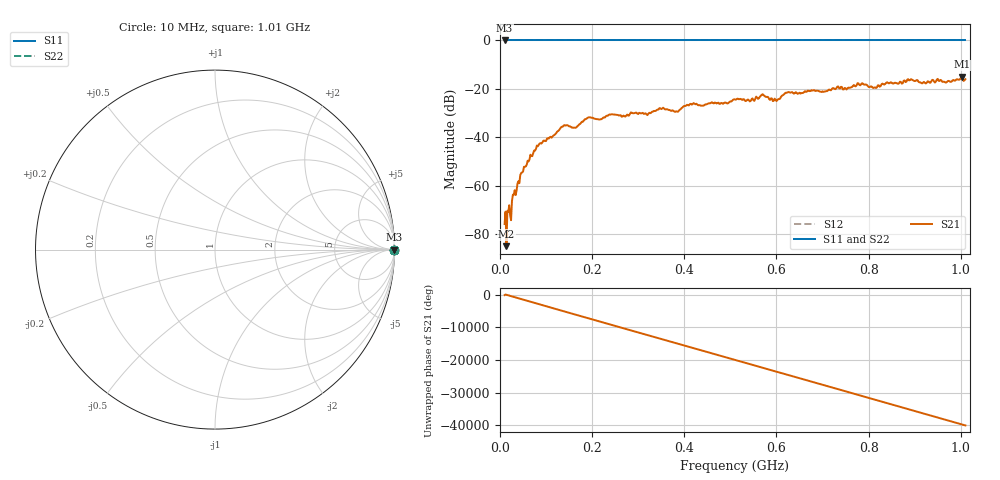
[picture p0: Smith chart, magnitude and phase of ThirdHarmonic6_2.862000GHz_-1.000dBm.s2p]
! 8/17/2025 7:47:51 AM
! C:\ANRITSUVNA\TEMP\TEMP.S2P
! CHANNEL.1
! TR.MEASUREMENT
! RAW.DATA
! RF.CORRECTION.OFF
! AVERAGING.OFF
! IF.BANDWIDTH: 5KHZ
! SWEEPTYPE:  FREQ.SWEEP(Linear)
! Reference Plane Port Info
! PORT:  PORT1  PORT2
! DISTANCE:  0  m  0  m
! TIME:  0  s  0  s
! PHASE.OFFSET:  0  deg.  0  deg.
! LOSS:  0  dB  0  dB
! REF.LOSS:  0  dB  0  dB
! REF.FREQ:  0  Hz  0  Hz
! Power Info
! POWER:  -20  dBm  -20  dBm
! EFF.POWER:  -20  dBm  -20  dBm
! SOURCE.ATTEN:  0  dB  0  dB
! TEST.ATTEN:  0  dB  0  dB
# GHZ S RI R 50.0
! FREQ.GHZ  S11RE  S11IM  S21RE  S21IM  S12RE  S12IM  S22RE  S22IM
!; PortSelection: Port_12
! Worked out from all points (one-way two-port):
!   501 points, 10 MHz to 1.01 GHz, reference 50 ohm
!   highest |S21| = -14.98 dB at 1.002 GHz (marker M1); lowest = -84.8 dB at 14 MHz (marker M2)
!   lowest |S11| = 0.0 dB at 10 MHz (marker M3)
!   |S11| at or under -10 dB: nowhere
!   |S22| runs from 0.0 to 0.0 dB; largest |S21 - S12| = 1.2
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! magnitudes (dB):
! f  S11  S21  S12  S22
! 10 MHz  0.0  -75.7  0.0  0.0
! 14 MHz  0.0  -84.8  0.0  0.0
! 48 MHz  0.0  -54.4  0.0  0.0
! 84 MHz  0.0  -43.1  0.0  0.0
! 136 MHz  0.0  -35.6  0.0  0.0
! 162 MHz  0.0  -35.9  0.0  0.0
! 178 MHz  0.0  -33.5  0.0  0.0
! 194 MHz  0.0  -31.7  0.0  0.0
! 322 MHz  0.0  -30.2  0.0  0.0
! 344 MHz  0.0  -28.5  0.0  0.0
! 382 MHz  0.0  -29.2  0.0  0.0
! 416 MHz  0.0  -26.4  0.0  0.0
! 510 MHz  0.0  -24.3  0.0  0.0
! 570 MHz  0.0  -22.2  0.0  0.0
! 596 MHz  0.0  -24.0  0.0  0.0
! 624 MHz  0.0  -21.4  0.0  0.0
! 678 MHz  0.0  -20.6  0.0  0.0
! 780 MHz  0.0  -18.3  0.0  0.0
! 814 MHz  0.0  -19.3  0.0  0.0
! 844 MHz  0.0  -17.7  0.0  0.0
! 1.002 GHz  0.0  -15.0  0.0  0.0
! 1.01 GHz  0.0  -16.0  0.0  0.0
